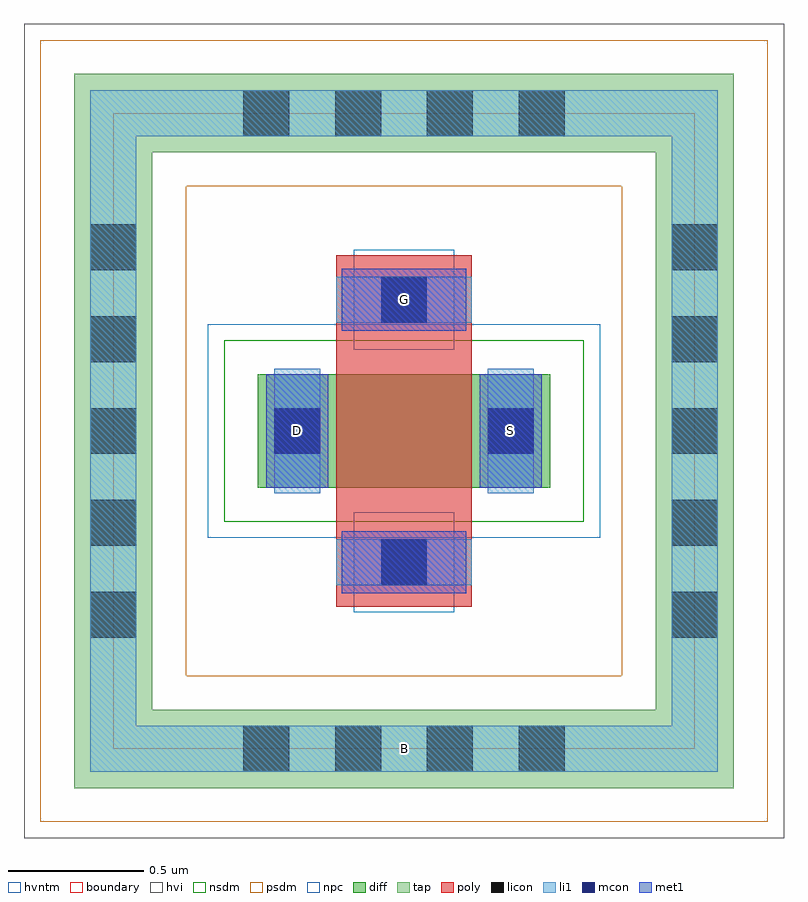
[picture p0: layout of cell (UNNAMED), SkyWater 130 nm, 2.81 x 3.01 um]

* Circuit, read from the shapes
.subckt (UNNAMED) B D G S
XM1 S G D B sky130_fd_pr__nfet_g5v0d10v5 w=0.42 l=0.5
.ends

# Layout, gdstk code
import gdstk
lib = gdstk.Library(unit=1e-6, precision=1e-09)
def R(c, l, rs):  # rectangles x0, y0, x1, y1
    for r in rs: c.add(gdstk.rectangle(r[:2], r[2:], *l))
def A(c, l, x, y, w, h, nx, ny, dx, dy):  # array of equal rectangles
    R(c, l, [(x+i*dx, y+j*dy, x+i*dx+w, y+j*dy+h) for i in range(nx) for j in range(ny)])
diff = (65, 20)
tap = (65, 44)
poly = (66, 20)
licon = (66, 44)
li1 = (67, 20)
mcon = (67, 44)
met1 = (68, 20)
hvi = (75, 20)
nsdm = (93, 44)
psdm = (94, 20)
npc = (95, 20)
hvntm = (125, 20)
boundary = (235, 4)

c__unnamed_ = lib.new_cell('(UNNAMED)')
R(c__unnamed_, diff, [(-0.54,-0.21,0.54,0.21)])
R(c__unnamed_, tap, [(-1.22,-1.32,1.22,-1.03), (-1.22,-1.03,-0.93,1.03), (0.93,-1.03,1.22,1.03), (-1.22,1.03,1.22,1.32)])
R(c__unnamed_, poly, [(-0.25,-0.65,0.25,0.65)])
A(c__unnamed_, licon, -0.595, -1.26, 0.17, 0.17, 4, 2, 0.34, 2.35)
A(c__unnamed_, licon, -1.16, -0.765, 0.17, 0.17, 1, 5, 0, 0.34)
A(c__unnamed_, licon, 0.99, -0.765, 0.17, 0.17, 1, 5, 0, 0.34)
R(c__unnamed_, licon, [(-0.085,-0.57,0.085,-0.4), (-0.48,-0.085,-0.31,0.085), (0.31,-0.085,0.48,0.085), (-0.085,0.4,0.085,0.57)])
R(c__unnamed_, li1, [(-1.16,-1.26,1.16,-1.09), (-1.16,-1.09,-0.99,1.09), (0.99,-1.09,1.16,1.09), (-0.25,-0.57,0.25,-0.4), (-0.48,-0.23,-0.31,0.23), (0.31,-0.23,0.48,0.23), (-0.25,0.4,0.25,0.57), (-1.16,1.09,1.16,1.26)])
R(c__unnamed_, mcon, [(-0.085,-0.57,0.085,-0.4), (-0.48,-0.085,-0.31,0.085), (0.31,-0.085,0.48,0.085), (-0.085,0.4,0.085,0.57)])
R(c__unnamed_, met1, [(-0.23,-0.6,0.23,-0.37), (-0.51,-0.21,-0.28,0.21), (0.28,-0.21,0.51,0.21), (-0.23,0.37,0.23,0.6)])
R(c__unnamed_, hvi, [(-1.405,-1.505,1.405,1.505)])
R(c__unnamed_, nsdm, [(-0.665,-0.335,0.665,0.335)])
R(c__unnamed_, psdm, [(-1.345,-1.445,1.345,-0.905), (-1.345,-0.905,-0.805,0.905), (0.805,-0.905,1.345,0.905), (-1.345,0.905,1.345,1.445)])
R(c__unnamed_, npc, [(-0.185,-0.67,0.185,-0.3), (-0.185,0.3,0.185,0.67)])
R(c__unnamed_, hvntm, [(-0.725,-0.395,0.725,0.395)])
R(c__unnamed_, boundary, [(-1.075,-1.175,1.075,1.175)])
c__unnamed_.add(gdstk.Label('B', (0,-1.175), layer=67, texttype=5))
c__unnamed_.add(gdstk.Label('D', (-0.395,0), layer=67, texttype=5))
c__unnamed_.add(gdstk.Label('S', (0.395,0), layer=67, texttype=5))
c__unnamed_.add(gdstk.Label('G', (0,0.485), layer=67, texttype=5))

lib.write_gds('_UNNAMED_.gds')
